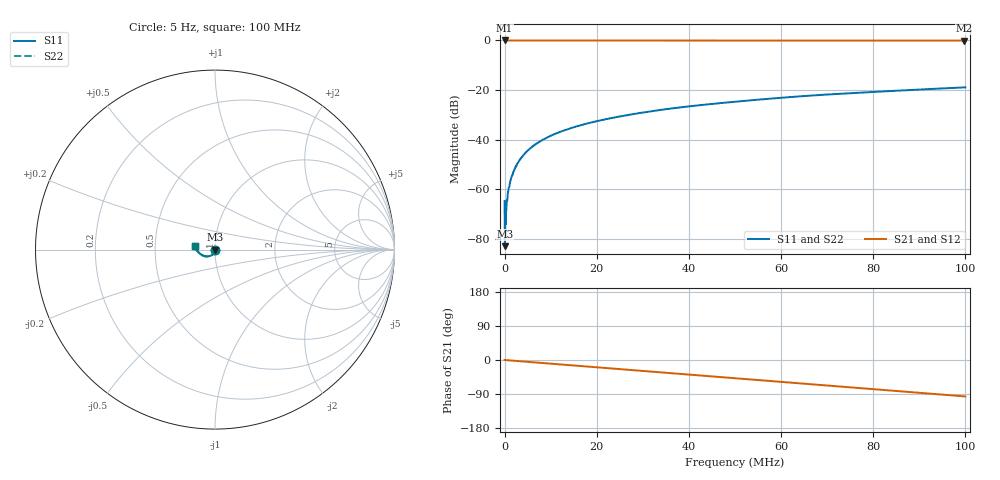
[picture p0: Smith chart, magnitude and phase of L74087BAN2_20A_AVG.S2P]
!Agilent Technologies,E5061B,MY49102235,A.02.00
!Date: Mon Jul 10 16:49:37 2023
!Data & Calibration Information:
!Freq	S11:SOLT2(ON)	S21:SOLT2(ON)	S12:SOLT2(ON)	S22:SOLT2(ON)
# Hz S RI R 50
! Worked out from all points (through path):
!   1600 points, 5 Hz to 100 MHz, reference 50 ohm
!   highest |S21| = 0.02 dB at 5 Hz (marker M1); lowest = -0.1 dB at 99.75 MHz (marker M2)
!   group delay of S21, straight-line fit = 2.67 ns
!   lowest |S11| = -82.9 dB at 62.54 kHz (marker M3), VSWR 1.00, Z = 50 - j0.00333 ohm
!   |S11| at or under -10 dB: start of sweep to end of sweep
!   |S22| runs from -82.6 to -18.8 dB; largest |S21 - S12| = 0.0026
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5  -0.000394 0.000432  1.002 0.00222  1.001 -6.64e-06  -4.08e-05 -6.15e-05
62544.08  -6.36e-05 -3.33e-05  0.9999 -0.000945  1 -0.000489  3.22e-05 -0.000135
250161.3  3.52e-05 -0.000197  0.9998 -0.00454  0.9998 -0.00428  2.06e-05 -0.00022
562856.8  0.000128 -0.000572  0.9998 -0.00971  0.9996 -0.00915  5.81e-05 -0.000629
687934.9  -1.16e-05 -0.000815  1 -0.0115  1 -0.0115  -5.31e-06 -0.000745
813013.1  -6.18e-05 -0.000928  1.001 -0.0141  0.9992 -0.0133  -7.05e-05 -0.000977
1063169  -6.77e-05 -0.0012  1.001 -0.0179  1 -0.0179  -2.89e-05 -0.00129
1250787  -8.5e-05 -0.00146  0.9998 -0.0214  0.9991 -0.0206  -4.84e-05 -0.00143
1688560  -2.53e-05 -0.00199  1 -0.0289  0.9994 -0.0281  -5.13e-05 -0.002
2188873  -0.000102 -0.00257  0.9994 -0.0367  0.9993 -0.0368  -0.000113 -0.00258
3627272  -0.000208 -0.00435  0.9982 -0.0612  0.9981 -0.0608  -0.000264 -0.00435
5753601  -0.000582 -0.00693  0.9953 -0.0969  0.9951 -0.0963  -0.00063 -0.00686
8692938  -0.00142 -0.0103  0.9891 -0.1458  0.9891 -0.1452  -0.00154 -0.0102
1.250782e7  -0.00302 -0.0146  0.9777 -0.2087  0.9777 -0.2085  -0.003 -0.0145
1.669794e7  -0.00549 -0.0191  0.9606 -0.2768  0.9606 -0.2766  -0.00531 -0.0191
2.445279e7  -0.0118 -0.0263  0.9165 -0.3992  0.9162 -0.3991  -0.0115 -0.0267
3.333334e7  -0.0216 -0.0328  0.8465 -0.5308  0.8465 -0.5304  -0.0211 -0.0336
5.003127e7  -0.0448 -0.0375  0.6659 -0.7436  0.6659 -0.7435  -0.0447 -0.0386
6.672921e7  -0.0717 -0.0306  0.4339 -0.8976  0.4337 -0.897  -0.0715 -0.032
8.33646e7  -0.0948 -0.0106  0.169 -0.9805  0.1689 -0.9802  -0.0951 -0.0126
9.974984e7  -0.1116 0.0207  -0.1024 -0.9879  -0.1026 -0.9875  -0.1126 0.0177
1e8  -0.1118 0.0213  -0.1065 -0.9875  -0.1066 -0.987  -0.113 0.0183
